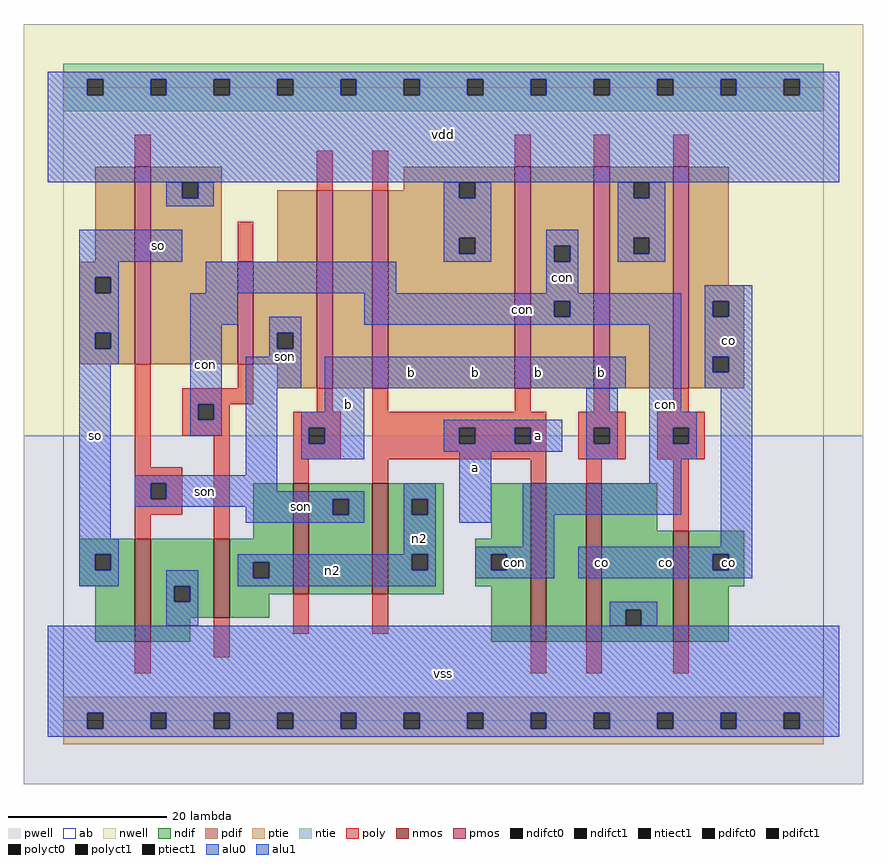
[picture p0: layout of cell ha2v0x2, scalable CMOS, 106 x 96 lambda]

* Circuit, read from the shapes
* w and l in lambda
.subckt ha2v0x2 a b co con n2 so son vdd vss
M1 vss son so vss nfet w=13 l=2
M2 n2 con vss vss nfet w=10 l=2
M3 son b n2 vss nfet w=14 l=2
M4 n2 a son vss nfet w=14 l=2
M5 n1 a con vss nfet w=20 l=2
M6 vss b n1 vss nfet w=20 l=2
M7 co con vss vss nfet w=14 l=2
M8 vdd son so vdd pfet w=25 l=2
M9 son con vdd vdd pfet w=13 l=2
M10 n3 b son vdd pfet w=25 l=2
M11 vdd a n3 vdd pfet w=25 l=2
M12 con a vdd vdd pfet w=28 l=2
M13 vdd b con vdd pfet w=28 l=2
M14 co con vdd vdd pfet w=28 l=2
.ends

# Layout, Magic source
magic
tech scmos
<< ab >>
rect 0 0 96 80
<< nwell >>
rect -5 36 101 88
<< pwell >>
rect -5 -8 101 36
<< poly >>
rect 9 70 11 74
rect 32 67 34 72
rect 39 67 41 72
rect 57 70 59 74
rect 67 70 69 74
rect 77 70 79 74
rect 22 58 24 63
rect 9 32 11 45
rect 22 42 24 45
rect 15 40 24 42
rect 15 38 17 40
rect 19 38 21 40
rect 32 39 34 42
rect 39 39 41 42
rect 57 39 59 42
rect 67 39 69 42
rect 77 39 79 42
rect 15 36 21 38
rect 9 30 15 32
rect 9 28 11 30
rect 13 28 15 30
rect 9 26 15 28
rect 9 23 11 26
rect 19 23 21 36
rect 29 37 35 39
rect 29 35 31 37
rect 33 35 35 37
rect 29 33 35 35
rect 39 37 61 39
rect 39 35 50 37
rect 52 35 57 37
rect 59 35 61 37
rect 39 33 61 35
rect 65 37 71 39
rect 65 35 67 37
rect 69 35 71 37
rect 65 33 71 35
rect 75 37 81 39
rect 75 35 77 37
rect 79 35 81 37
rect 75 33 81 35
rect 29 30 31 33
rect 39 30 41 33
rect 59 30 61 33
rect 66 30 68 33
rect 9 6 11 10
rect 19 8 21 13
rect 29 11 31 16
rect 39 11 41 16
rect 77 24 79 33
rect 59 6 61 10
rect 66 6 68 10
rect 77 6 79 10
<< ndif >>
rect 24 23 29 30
rect 2 21 9 23
rect 2 19 4 21
rect 6 19 9 21
rect 2 17 9 19
rect 4 10 9 17
rect 11 17 19 23
rect 11 15 14 17
rect 16 15 19 17
rect 11 13 19 15
rect 21 20 29 23
rect 21 18 24 20
rect 26 18 29 20
rect 21 16 29 18
rect 31 28 39 30
rect 31 26 34 28
rect 36 26 39 28
rect 31 16 39 26
rect 41 28 48 30
rect 41 26 44 28
rect 46 26 48 28
rect 41 21 48 26
rect 54 23 59 30
rect 41 19 44 21
rect 46 19 48 21
rect 41 16 48 19
rect 52 21 59 23
rect 52 19 54 21
rect 56 19 59 21
rect 52 17 59 19
rect 21 13 26 16
rect 11 10 16 13
rect 54 10 59 17
rect 61 10 66 30
rect 68 24 75 30
rect 68 14 77 24
rect 68 12 71 14
rect 73 12 77 14
rect 68 10 77 12
rect 79 21 86 24
rect 79 19 82 21
rect 84 19 86 21
rect 79 17 86 19
rect 79 10 84 17
<< pdif >>
rect 4 58 9 70
rect 2 56 9 58
rect 2 54 4 56
rect 6 54 9 56
rect 2 49 9 54
rect 2 47 4 49
rect 6 47 9 49
rect 2 45 9 47
rect 11 68 20 70
rect 11 66 15 68
rect 17 66 20 68
rect 43 68 57 70
rect 43 67 50 68
rect 11 58 20 66
rect 27 58 32 67
rect 11 45 22 58
rect 24 49 32 58
rect 24 47 27 49
rect 29 47 32 49
rect 24 45 32 47
rect 27 42 32 45
rect 34 42 39 67
rect 41 66 50 67
rect 52 66 57 68
rect 41 61 57 66
rect 41 59 50 61
rect 52 59 57 61
rect 41 42 57 59
rect 59 60 67 70
rect 59 58 62 60
rect 64 58 67 60
rect 59 53 67 58
rect 59 51 62 53
rect 64 51 67 53
rect 59 42 67 51
rect 69 68 77 70
rect 69 66 72 68
rect 74 66 77 68
rect 69 61 77 66
rect 69 59 72 61
rect 74 59 77 61
rect 69 42 77 59
rect 79 55 84 70
rect 79 53 86 55
rect 79 51 82 53
rect 84 51 86 53
rect 79 46 86 51
rect 79 44 82 46
rect 84 44 86 46
rect 79 42 86 44
<< alu1 >>
rect -2 81 98 82
rect -2 79 3 81
rect 5 79 11 81
rect 13 79 19 81
rect 21 79 27 81
rect 29 79 35 81
rect 37 79 43 81
rect 45 79 51 81
rect 53 79 59 81
rect 61 79 67 81
rect 69 79 75 81
rect 77 79 83 81
rect 85 79 91 81
rect 93 79 98 81
rect -2 68 98 79
rect 2 58 15 62
rect 2 56 7 58
rect 2 54 4 56
rect 6 54 7 56
rect 2 49 7 54
rect 2 47 4 49
rect 6 47 7 49
rect 2 45 7 47
rect 2 23 6 45
rect 33 42 71 46
rect 33 39 38 42
rect 30 37 38 39
rect 30 35 31 37
rect 33 35 38 37
rect 30 33 38 35
rect 48 37 63 38
rect 48 35 50 37
rect 52 35 57 37
rect 59 35 63 37
rect 48 34 63 35
rect 2 21 7 23
rect 50 25 54 34
rect 81 53 87 55
rect 81 51 82 53
rect 84 51 87 53
rect 81 46 87 51
rect 81 44 82 46
rect 84 44 87 46
rect 81 42 87 44
rect 83 22 87 42
rect 2 19 4 21
rect 6 19 7 21
rect 2 17 7 19
rect 65 21 87 22
rect 65 19 82 21
rect 84 19 87 21
rect 65 18 87 19
rect -2 1 98 12
rect -2 -1 3 1
rect 5 -1 11 1
rect 13 -1 19 1
rect 21 -1 27 1
rect 29 -1 35 1
rect 37 -1 43 1
rect 45 -1 51 1
rect 53 -1 59 1
rect 61 -1 67 1
rect 69 -1 75 1
rect 77 -1 83 1
rect 85 -1 91 1
rect 93 -1 98 1
rect -2 -2 98 -1
<< ptie >>
rect 0 1 96 3
rect 0 -1 3 1
rect 5 -1 11 1
rect 13 -1 19 1
rect 21 -1 27 1
rect 29 -1 35 1
rect 37 -1 43 1
rect 45 -1 51 1
rect 53 -1 59 1
rect 61 -1 67 1
rect 69 -1 75 1
rect 77 -1 83 1
rect 85 -1 91 1
rect 93 -1 96 1
rect 0 -3 96 -1
<< ntie >>
rect 0 81 96 83
rect 0 79 3 81
rect 5 79 11 81
rect 13 79 19 81
rect 21 79 27 81
rect 29 79 35 81
rect 37 79 43 81
rect 45 79 51 81
rect 53 79 59 81
rect 61 79 67 81
rect 69 79 75 81
rect 77 79 83 81
rect 85 79 91 81
rect 93 79 96 81
rect 0 77 96 79
<< nmos >>
rect 9 10 11 23
rect 19 13 21 23
rect 29 16 31 30
rect 39 16 41 30
rect 59 10 61 30
rect 66 10 68 30
rect 77 10 79 24
<< pmos >>
rect 9 45 11 70
rect 22 45 24 58
rect 32 42 34 67
rect 39 42 41 67
rect 57 42 59 70
rect 67 42 69 70
rect 77 42 79 70
<< polyct0 >>
rect 17 38 19 40
rect 11 28 13 30
rect 67 35 69 37
rect 77 35 79 37
<< polyct1 >>
rect 31 35 33 37
rect 50 35 52 37
rect 57 35 59 37
<< ndifct0 >>
rect 14 15 16 17
rect 24 18 26 20
rect 34 26 36 28
rect 44 26 46 28
rect 44 19 46 21
rect 54 19 56 21
rect 71 12 73 14
<< ndifct1 >>
rect 4 19 6 21
rect 82 19 84 21
<< ntiect1 >>
rect 3 79 5 81
rect 11 79 13 81
rect 19 79 21 81
rect 27 79 29 81
rect 35 79 37 81
rect 43 79 45 81
rect 51 79 53 81
rect 59 79 61 81
rect 67 79 69 81
rect 75 79 77 81
rect 83 79 85 81
rect 91 79 93 81
<< ptiect1 >>
rect 3 -1 5 1
rect 11 -1 13 1
rect 19 -1 21 1
rect 27 -1 29 1
rect 35 -1 37 1
rect 43 -1 45 1
rect 51 -1 53 1
rect 59 -1 61 1
rect 67 -1 69 1
rect 75 -1 77 1
rect 83 -1 85 1
rect 91 -1 93 1
<< pdifct0 >>
rect 15 66 17 68
rect 27 47 29 49
rect 50 66 52 68
rect 50 59 52 61
rect 62 58 64 60
rect 62 51 64 53
rect 72 66 74 68
rect 72 59 74 61
<< pdifct1 >>
rect 4 54 6 56
rect 4 47 6 49
rect 82 51 84 53
rect 82 44 84 46
<< alu0 >>
rect 13 66 15 68
rect 17 66 19 68
rect 13 65 19 66
rect 48 66 50 68
rect 52 66 54 68
rect 48 61 54 66
rect 70 66 72 68
rect 74 66 76 68
rect 48 59 50 61
rect 52 59 54 61
rect 48 58 54 59
rect 61 60 65 62
rect 61 58 62 60
rect 64 58 65 60
rect 70 61 76 66
rect 70 59 72 61
rect 74 59 76 61
rect 70 58 76 59
rect 18 54 42 58
rect 61 54 65 58
rect 16 50 22 54
rect 38 53 78 54
rect 38 51 62 53
rect 64 51 78 53
rect 16 40 20 50
rect 26 49 30 51
rect 38 50 78 51
rect 26 47 27 49
rect 29 47 30 49
rect 26 46 30 47
rect 16 38 17 40
rect 19 38 20 40
rect 16 36 20 38
rect 23 42 30 46
rect 23 31 27 42
rect 66 37 70 42
rect 66 35 67 37
rect 69 35 70 37
rect 9 30 27 31
rect 9 28 11 30
rect 13 29 27 30
rect 13 28 38 29
rect 9 27 34 28
rect 23 26 34 27
rect 36 26 38 28
rect 23 25 38 26
rect 43 28 47 30
rect 43 26 44 28
rect 46 26 47 28
rect 43 21 47 26
rect 66 33 70 35
rect 74 39 78 50
rect 74 37 80 39
rect 74 35 77 37
rect 79 35 80 37
rect 74 33 80 35
rect 74 30 78 33
rect 58 26 78 30
rect 58 22 62 26
rect 22 20 44 21
rect 13 17 17 19
rect 22 18 24 20
rect 26 19 44 20
rect 46 19 47 21
rect 26 18 47 19
rect 52 21 62 22
rect 52 19 54 21
rect 56 19 62 21
rect 52 18 62 19
rect 22 17 47 18
rect 13 15 14 17
rect 16 15 17 17
rect 13 12 17 15
rect 69 14 75 15
rect 69 12 71 14
rect 73 12 75 14
<< labels >>
rlabel alu0 18 45 18 45 6 con
rlabel alu0 45 23 45 23 6 n2
rlabel alu0 34 19 34 19 6 n2
rlabel alu0 30 27 30 27 6 son
rlabel alu0 18 29 18 29 6 son
rlabel alu0 28 46 28 46 6 son
rlabel alu0 57 20 57 20 6 con
rlabel alu0 63 56 63 56 6 con
rlabel alu0 76 40 76 40 6 con
rlabel alu0 58 52 58 52 6 con
rlabel alu1 4 36 4 36 6 so
rlabel alu1 12 60 12 60 6 so
rlabel alu1 44 44 44 44 6 b
rlabel alu1 36 40 36 40 6 b
rlabel alu1 48 6 48 6 6 vss
rlabel alu1 68 20 68 20 6 co
rlabel alu1 52 32 52 32 6 a
rlabel alu1 60 36 60 36 6 a
rlabel alu1 68 44 68 44 6 b
rlabel alu1 60 44 60 44 6 b
rlabel alu1 52 44 52 44 6 b
rlabel alu1 48 74 48 74 6 vdd
rlabel alu1 84 20 84 20 6 co
rlabel alu1 76 20 76 20 6 co
rlabel alu1 84 48 84 48 6 co
<< end >>
